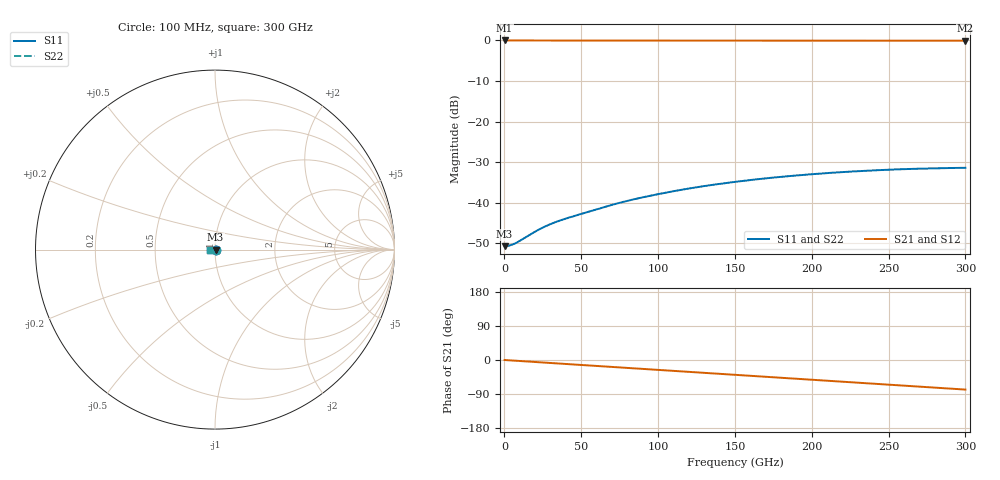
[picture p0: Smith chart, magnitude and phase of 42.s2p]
#  Hz  S  RI  R  50
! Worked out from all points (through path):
!   3000 points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, 100 MHz to 300 GHz, reference 50 ohm
!   highest |S21| = -0.02 dB at 100 MHz (marker M1); lowest = -0.1 dB at 300 GHz (marker M2)
!   group delay of S21, straight-line fit = 722 fs
!   lowest |S11| = -50.7 dB at 100 MHz (marker M3), VSWR 1.01, Z = 50.3 - j7.46e-05 ohm
!   |S11| at or under -10 dB: start of sweep to end of sweep
!   |S22| runs from -50.7 to -31.4 dB; largest |S21 - S12| = 2.4e-05
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1e8  0.00292 -7.42e-07  0.9971 -0.00047  0.9971 -0.00047  0.00293 -4.86e-07
3.4e9  0.00298 -3.36e-05  0.9969 -0.016  0.9969 -0.016  0.00299 -2.5e-05
7e9  0.00316 -0.000123  0.9963 -0.0328  0.9963 -0.0328  0.00317 -0.000105
1.02e10  0.0034 -0.000284  0.9954 -0.0476  0.9954 -0.0476  0.00341 -0.000259
2.13e10  0.00428 -0.00157  0.9905 -0.0979  0.9905 -0.0979  0.00428 -0.00153
2.54e10  0.00445 -0.00226  0.9883 -0.1162  0.9883 -0.1162  0.00445 -0.00221
2.96e10  0.00451 -0.00301  0.9857 -0.1349  0.9857 -0.1349  0.00451 -0.00294
3.77e10  0.00435 -0.0044  0.98 -0.1709  0.98 -0.171  0.00435 -0.00432
5.01e10  0.00377 -0.00625  0.9685 -0.2259  0.9685 -0.2259  0.00377 -0.00616
6.64e10  0.00277 -0.00858  0.9486 -0.2966  0.9486 -0.2966  0.00278 -0.00845
7.63e10  0.00189 -0.00996  0.9341 -0.3388  0.9341 -0.3388  0.00192 -0.00982
8.71e10  0.000723 -0.0113  0.9162 -0.384  0.9162 -0.384  0.000758 -0.0112
1.001e11  -0.000869 -0.0127  0.8916 -0.4372  0.8916 -0.4372  -0.000825 -0.0126
1.126e11  -0.00258 -0.0139  0.8652 -0.4868  0.8652 -0.4868  -0.00253 -0.0137
1.242e11  -0.00434 -0.0148  0.8383 -0.5315  0.8383 -0.5315  -0.00428 -0.0146
1.501e11  -0.0086 -0.0159  0.7699 -0.6257  0.7699 -0.6257  -0.00852 -0.0157
1.734e11  -0.0126 -0.0159  0.6994 -0.7032  0.6994 -0.7032  -0.0125 -0.0156
2.001e11  -0.0171 -0.0146  0.6092 -0.7821  0.6092 -0.7821  -0.017 -0.0143
2.249e11  -0.0208 -0.0123  0.5173 -0.8452  0.5173 -0.8452  -0.0207 -0.0121
2.501e11  -0.0239 -0.00912  0.4175 -0.8985  0.4175 -0.8985  -0.0238 -0.00885
2.755e11  -0.0259 -0.00513  0.3113 -0.94  0.3113 -0.94  -0.0259 -0.00486
3e11  -0.0269 -0.000862  0.2048 -0.9687  0.2048 -0.9686  -0.0269 -0.000613
